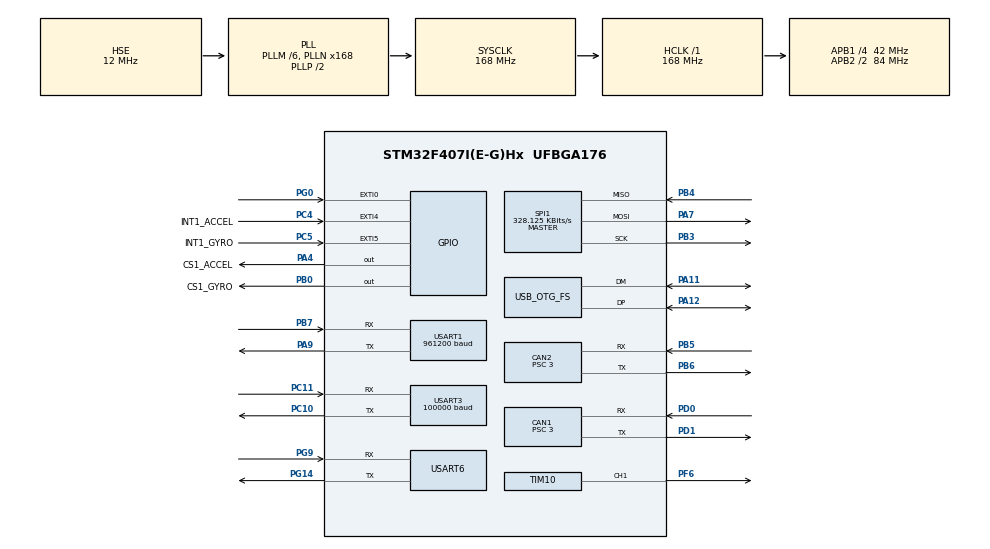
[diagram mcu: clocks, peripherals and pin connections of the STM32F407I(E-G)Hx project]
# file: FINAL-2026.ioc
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CAN1.BS1=CAN_BS1_10TQ
CAN1.BS2=CAN_BS2_3TQ
CAN1.CalculateBaudRate=1000000
CAN1.CalculateTimeBit=1000
CAN1.CalculateTimeQuantum=71.42857142857143
CAN1.Prescaler=3
CAN2.BS1=CAN_BS1_10TQ
CAN2.BS2=CAN_BS2_3TQ
CAN2.CalculateBaudRate=1000000
CAN2.CalculateTimeBit=1000
CAN2.CalculateTimeQuantum=71.42857142857143
CAN2.Prescaler=3
Dma.Request0=SPI1_RX
Dma.Request1=SPI1_TX
Dma.Request2=USART1_TX
Dma.Request3=USART3_RX
Dma.Request4=USART6_RX
Dma.Request5=USART6_TX
Dma.Request6=USART1_RX
Dma.SPI1_RX.0.Direction=DMA_PERIPH_TO_MEMORY
Dma.SPI1_RX.0.FIFOMode=DMA_FIFOMODE_DISABLE
Dma.SPI1_RX.0.Instance=DMA2_Stream2
Dma.SPI1_RX.0.MemDataAlignment=DMA_MDATAALIGN_BYTE
Dma.SPI1_RX.0.MemInc=DMA_MINC_ENABLE
Dma.SPI1_RX.0.Mode=DMA_NORMAL
Dma.SPI1_RX.0.PeriphDataAlignment=DMA_PDATAALIGN_BYTE
Dma.SPI1_RX.0.PeriphInc=DMA_PINC_DISABLE
Dma.SPI1_RX.0.Priority=DMA_PRIORITY_VERY_HIGH
Dma.SPI1_TX.1.Direction=DMA_MEMORY_TO_PERIPH
Dma.SPI1_TX.1.FIFOMode=DMA_FIFOMODE_DISABLE
Dma.SPI1_TX.1.Instance=DMA2_Stream3
Dma.SPI1_TX.1.MemDataAlignment=DMA_MDATAALIGN_BYTE
Dma.SPI1_TX.1.MemInc=DMA_MINC_ENABLE
Dma.SPI1_TX.1.Mode=DMA_NORMAL
Dma.SPI1_TX.1.PeriphDataAlignment=DMA_PDATAALIGN_BYTE
Dma.SPI1_TX.1.PeriphInc=DMA_PINC_DISABLE
Dma.SPI1_TX.1.Priority=DMA_PRIORITY_HIGH
Dma.USART1_RX.6.Direction=DMA_PERIPH_TO_MEMORY
Dma.USART1_RX.6.FIFOMode=DMA_FIFOMODE_DISABLE
Dma.USART1_RX.6.Instance=DMA2_Stream5
Dma.USART1_RX.6.MemDataAlignment=DMA_MDATAALIGN_BYTE
Dma.USART1_RX.6.MemInc=DMA_MINC_ENABLE
Dma.USART1_RX.6.Mode=DMA_CIRCULAR
Dma.USART1_RX.6.PeriphDataAlignment=DMA_PDATAALIGN_BYTE
Dma.USART1_RX.6.PeriphInc=DMA_PINC_DISABLE
Dma.USART1_RX.6.Priority=DMA_PRIORITY_HIGH
Dma.USART1_TX.2.Direction=DMA_MEMORY_TO_PERIPH
Dma.USART1_TX.2.FIFOMode=DMA_FIFOMODE_DISABLE
Dma.USART1_TX.2.Instance=DMA2_Stream7
Dma.USART1_TX.2.MemDataAlignment=DMA_MDATAALIGN_BYTE
Dma.USART1_TX.2.MemInc=DMA_MINC_ENABLE
Dma.USART1_TX.2.Mode=DMA_NORMAL
Dma.USART1_TX.2.PeriphDataAlignment=DMA_PDATAALIGN_BYTE
Dma.USART1_TX.2.PeriphInc=DMA_PINC_DISABLE
Dma.USART1_TX.2.Priority=DMA_PRIORITY_MEDIUM
Dma.USART3_RX.3.Direction=DMA_PERIPH_TO_MEMORY
Dma.USART3_RX.3.FIFOMode=DMA_FIFOMODE_DISABLE
Dma.USART3_RX.3.Instance=DMA1_Stream1
Dma.USART3_RX.3.MemDataAlignment=DMA_MDATAALIGN_BYTE
Dma.USART3_RX.3.MemInc=DMA_MINC_ENABLE
Dma.USART3_RX.3.Mode=DMA_NORMAL
Dma.USART3_RX.3.PeriphDataAlignment=DMA_PDATAALIGN_BYTE
Dma.USART3_RX.3.PeriphInc=DMA_PINC_DISABLE
Dma.USART3_RX.3.Priority=DMA_PRIORITY_LOW
Dma.USART6_RX.4.Direction=DMA_PERIPH_TO_MEMORY
Dma.USART6_RX.4.FIFOMode=DMA_FIFOMODE_DISABLE
Dma.USART6_RX.4.Instance=DMA2_Stream1
Dma.USART6_RX.4.MemDataAlignment=DMA_MDATAALIGN_BYTE
Dma.USART6_RX.4.MemInc=DMA_MINC_ENABLE
Dma.USART6_RX.4.Mode=DMA_CIRCULAR
Dma.USART6_RX.4.PeriphDataAlignment=DMA_PDATAALIGN_BYTE
Dma.USART6_RX.4.PeriphInc=DMA_PINC_DISABLE
Dma.USART6_RX.4.Priority=DMA_PRIORITY_HIGH
Dma.USART6_TX.5.Direction=DMA_MEMORY_TO_PERIPH
Dma.USART6_TX.5.FIFOMode=DMA_FIFOMODE_DISABLE
Dma.USART6_TX.5.Instance=DMA2_Stream6
Dma.USART6_TX.5.MemDataAlignment=DMA_MDATAALIGN_BYTE
Dma.USART6_TX.5.MemInc=DMA_MINC_ENABLE
Dma.USART6_TX.5.Mode=DMA_NORMAL
Dma.USART6_TX.5.PeriphDataAlignment=DMA_PDATAALIGN_BYTE
Dma.USART6_TX.5.PeriphInc=DMA_PINC_DISABLE
Dma.USART6_TX.5.Priority=DMA_PRIORITY_MEDIUM
FREERTOS.INCLUDE_eTaskGetState=1
FREERTOS.INCLUDE_pcTaskGetTaskName=1
FREERTOS.INCLUDE_uxTaskGetStackHighWaterMark=1
FREERTOS.INCLUDE_vTaskCleanUpResources=1
FREERTOS.INCLUDE_vTaskDelayUntil=1
FREERTOS.INCLUDE_xEventGroupSetBitFromISR=1
FREERTOS.INCLUDE_xQueueGetMutexHolder=1
FREERTOS.INCLUDE_xSemaphoreGetMutexHolder=1
FREERTOS.INCLUDE_xTaskAbortDelay=1
FREERTOS.INCLUDE_xTaskGetCurrentTaskHandle=1
FREERTOS.INCLUDE_xTaskGetHandle=1
FREERTOS.INCLUDE_xTimerPendFunctionCall=1
FREERTOS.Tasks01=ins_task,2,512,INS_TASK,As weak,NULL,Dynamic,NULL,NULL;chassis_task,1,512,CHASSIS_TASK,As weak,NULL,Dynamic,NULL,NULL;gimbal_task,2,512,GIMBAL_TASK,As weak,NULL,Dynamic,NULL,NULL;shooter_task,1,512,SHOOTER_TASK,As weak,NULL,Dynamic,NULL,NULL;usbreceive_task,2,256,USBRECEIVE_TASK,As weak,NULL,Dynamic,NULL,NULL;referee_task,0,256,REFEREE_TASK,As weak,NULL,Dynamic,NULL,NULL;calibrate_task,-1,128,CALIBRATE_TASK,As weak,NULL,Dynamic,NULL,NULL;control_task,2,512,CONTROL_TASK,As weak,NULL,Dynamic,NULL,NULL
FREERTOS.configENABLE_FPU=1
FREERTOS.configTOTAL_HEAP_SIZE=24576
FREERTOS.configUSE_TIMERS=1
Mcu.Family=STM32F4
Mcu.Name=STM32F407I(E-G)Hx
Mcu.Package=UFBGA176
NVIC.CAN1_RX0_IRQn=true\:5\:0\:false\:false\:true\:true\:true\:true\:true
NVIC.CAN2_RX0_IRQn=true\:5\:0\:false\:false\:true\:true\:true\:true\:true
NVIC.DMA1_Stream1_IRQn=true\:5\:0\:false\:false\:true\:true\:false\:true\:true
NVIC.DMA2_Stream1_IRQn=true\:5\:0\:false\:false\:true\:true\:false\:true\:true
NVIC.DMA2_Stream2_IRQn=true\:5\:0\:false\:false\:true\:true\:false\:true\:true
NVIC.DMA2_Stream3_IRQn=true\:5\:0\:false\:false\:true\:true\:false\:true\:true
NVIC.DMA2_Stream5_IRQn=true\:5\:0\:false\:false\:true\:true\:false\:true\:true
NVIC.DMA2_Stream6_IRQn=true\:5\:0\:false\:false\:true\:true\:false\:true\:true
NVIC.DMA2_Stream7_IRQn=true\:5\:0\:false\:false\:true\:true\:false\:true\:true
NVIC.EXTI0_IRQn=true\:5\:0\:false\:false\:true\:true\:true\:true\:true
NVIC.EXTI4_IRQn=true\:5\:0\:false\:false\:true\:false\:true\:true\:true
NVIC.EXTI9_5_IRQn=true\:5\:0\:false\:false\:true\:false\:true\:true\:true
NVIC.OTG_FS_IRQn=true\:5\:0\:false\:false\:true\:true\:true\:true\:true
NVIC.PriorityGroup=NVIC_PRIORITYGROUP_4
NVIC.USART1_IRQn=true\:5\:0\:false\:false\:true\:true\:false\:true\:true
NVIC.USART3_IRQn=true\:5\:0\:false\:false\:true\:true\:true\:true\:true
NVIC.USART6_IRQn=true\:5\:0\:false\:false\:true\:true\:false\:true\:true
PA10.Signal=USB_OTG_FS_ID
PA11.GPIO_PuPd=GPIO_PULLUP
PA11.Mode=Device_Only
PA11.Signal=USB_OTG_FS_DM
PA12.GPIO_PuPd=GPIO_PULLUP
PA12.Mode=Device_Only
PA12.Signal=USB_OTG_FS_DP
PA13.Mode=Serial_Wire
PA13.Signal=SYS_JTMS-SWDIO
PA14.Mode=Serial_Wire
PA14.Signal=SYS_JTCK-SWCLK
PA4.GPIO_Label=CS1_ACCEL
PA4.GPIO_PuPd=GPIO_PULLUP
PA4.GPIO_Speed=GPIO_SPEED_FREQ_HIGH
PA4.PinState=GPIO_PIN_SET
PA4.Signal=GPIO_Output
PA7.GPIO_PuPd=GPIO_PULLUP
PA7.Mode=Full_Duplex_Master
PA7.Signal=SPI1_MOSI
PA9.Mode=Asynchronous
PA9.Signal=USART1_TX
PB0.GPIO_Label=CS1_GYRO
PB0.GPIO_PuPd=GPIO_PULLUP
PB0.GPIO_Speed=GPIO_SPEED_FREQ_HIGH
PB0.PinState=GPIO_PIN_SET
PB0.Signal=GPIO_Output
PB3.GPIO_PuPd=GPIO_PULLUP
PB3.Mode=Full_Duplex_Master
PB3.Signal=SPI1_SCK
PB4.GPIO_PuPd=GPIO_PULLUP
PB4.Mode=Full_Duplex_Master
PB4.Signal=SPI1_MISO
PB5.Mode=CAN_Activate
PB5.Signal=CAN2_RX
PB6.Mode=CAN_Activate
PB6.Signal=CAN2_TX
PB7.Mode=Asynchronous
PB7.Signal=USART1_RX
PC10.Mode=Asynchronous
PC10.Signal=USART3_TX
PC11.Mode=Asynchronous
PC11.Signal=USART3_RX
PC4.GPIO_Label=INT1_ACCEL
PC4.GPIO_PuPd=GPIO_PULLUP
PC4.Signal=GPXTI4
PC5.GPIO_Label=INT1_GYRO
PC5.GPIO_PuPd=GPIO_PULLUP
PC5.Signal=GPXTI5
PD0.Mode=CAN_Activate
PD0.Signal=CAN1_RX
PD1.Mode=CAN_Activate
PD1.Signal=CAN1_TX
PF6.GPIO_PuPd=GPIO_PULLUP
PF6.GPIO_Speed=GPIO_SPEED_FREQ_HIGH
PF6.Signal=S_TIM10_CH1
PG0.GPIO_PuPd=GPIO_PULLUP
PG0.Signal=GPXTI0
PG14.Mode=Asynchronous
PG14.Signal=USART6_TX
PG9.Mode=Asynchronous
PG9.Signal=USART6_RX
PH0-OSC_IN.Mode=HSE-External-Oscillator
PH0-OSC_IN.Signal=RCC_OSC_IN
PH1-OSC_OUT.Mode=HSE-External-Oscillator
PH1-OSC_OUT.Signal=RCC_OSC_OUT
ProjectManager.HeapSize=0x200
ProjectManager.StackSize=0x400
ProjectManager.TargetToolchain=MDK-ARM V5.32
RCC.48MHZClocksFreq_Value=48000000
RCC.AHBFreq_Value=168000000
RCC.APB1CLKDivider=RCC_HCLK_DIV4
RCC.APB1Freq_Value=42000000
RCC.APB1TimFreq_Value=84000000
RCC.APB2CLKDivider=RCC_HCLK_DIV2
RCC.APB2Freq_Value=84000000
RCC.APB2TimFreq_Value=168000000
RCC.CortexFreq_Value=168000000
RCC.HCLKFreq_Value=168000000
RCC.HSE_VALUE=12000000
RCC.HSI_VALUE=16000000
RCC.LSE_VALUE=32768
RCC.PLLM=6
RCC.PLLN=168
RCC.PLLQ=7
RCC.SYSCLKFreq_VALUE=168000000
RCC.SYSCLKSource=RCC_SYSCLKSOURCE_PLLCLK
RCC.VCOOutputFreq_Value=336000000
SH.S_TIM10_CH1.0=TIM10_CH1,PWM Generation1 CH1
SPI1.BaudRatePrescaler=SPI_BAUDRATEPRESCALER_256
SPI1.CLKPhase=SPI_PHASE_2EDGE
SPI1.CLKPolarity=SPI_POLARITY_HIGH
SPI1.CalculateBaudRate=328.125 KBits/s
SPI1.Direction=SPI_DIRECTION_2LINES
SPI1.Mode=SPI_MODE_MASTER
SPI1.VirtualType=VM_MASTER
STMicroelectronics.X-CUBE-ALGOBUILD.1.4.0.LibraryCcDSPOoLibraryJjDSPOoLibrary=true
TIM10.Channel=TIM_CHANNEL_1
TIM10.Period=4999
USART1.BaudRate=961200
USART1.VirtualMode=VM_ASYNC
USART3.BaudRate=100000
USART3.Parity=PARITY_EVEN
USART3.StopBits=STOPBITS_2
USART3.VirtualMode=VM_ASYNC
USART3.WordLength=WORDLENGTH_9B
USART6.VirtualMode=VM_ASYNC
USB_DEVICE.CLASS_NAME_FS=CDC
USB_DEVICE.VirtualMode-CDC_FS=Cdc
USB_DEVICE.VirtualModeFS=Cdc_FS
USB_OTG_FS.VirtualMode=Device_Only
VP_CRC_VS_CRC.Mode=CRC_Activate
VP_FREERTOS_VS_CMSIS_V1.Mode=CMSIS_V1
VP_RNG_VS_RNG.Mode=RNG_Activate
VP_STMicroelectronics.X-CUBE-ALGOBUILD_VS_DSPOoLibraryJjLibrary_1.4.0_1.4.0.Mode=DSPOoLibraryJjLibrary
VP_TIM10_VS_ClockSourceINT.Mode=Enable_Timer
VP_USB_DEVICE_VS_USB_DEVICE_CDC_FS.Mode=CDC_FS
board=custom

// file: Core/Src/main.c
/* USER CODE BEGIN Header */
/**
 ******************************************************************************
 * @file           : main.c
 * @brief          : Main program body
 ******************************************************************************
 * @attention
 *
 * Copyright (c) 2026 STMicroelectronics.
 * All rights reserved.
 *
 * This software is licensed under terms that can be found in the LICENSE file
 * in the root directory of this software component.
 * If no LICENSE file comes with this software, it is provided AS-IS.
 *
 ******************************************************************************
 */
/* USER CODE END Header */
#include "main.h"
#include "cmsis_os.h"
#include "can.h"
#include "crc.h"
#include "dma.h"
#include "rng.h"
#include "spi.h"
#include "tim.h"
#include "usart.h"
#include "usb_device.h"
#include "gpio.h"

/* USER CODE BEGIN Includes */
#include "BMI088driver.h"
/* USER CODE END Includes */

void SystemClock_Config(void);
void MX_FREERTOS_Init(void);

int main(void)
{

  /* MCU Configuration--------------------------------------------------------*/

  /* Reset of all peripherals, Initializes the Flash interface and the Systick. */
  HAL_Init();

  /* Configure the system clock */
  SystemClock_Config();

  /* USER CODE BEGIN SysInit */
//  HAL_NVIC_SetPriorityGrouping(NVIC_PRIORITYGROUP_4);
	USB_GPIO_CONSTRAINT_RESTART();
  /* USER CODE END SysInit */

  /* Initialize all configured peripherals */
  MX_GPIO_Init();
  MX_DMA_Init();
  MX_CAN1_Init();
  MX_CAN2_Init();
  MX_SPI1_Init();
  MX_TIM10_Init();
  MX_USART1_UART_Init();
  MX_USART3_UART_Init();
  MX_CRC_Init();
  MX_RNG_Init();
  MX_USART6_UART_Init();
	MX_USB_DEVICE_Init();
  /* USER CODE BEGIN 2 */
  HAL_TIM_PWM_Start(&htim10, TIM_CHANNEL_1);
  can_filter_init();
  while (BMI088_init())
  {
    ;
  }
  while (1)
  {
    BMI088_read(&BMI088);

    if (BMI088.temperature < 40.0f)
    {
      IMU_Temperature_Control(BMI088.temperature);
    }
    else
    {
      TIM10->CCR1 = 0;
      break;
    }
  }

  IMU_Calibrate(0);
  hspi1.Init.BaudRatePrescaler = SPI_BAUDRATEPRESCALER_8;
  /* USER CODE END 2 */

  /* Call init function for freertos objects (in cmsis_os2.c) */
  MX_FREERTOS_Init();

  /* Start scheduler */
  osKernelStart();

  /* We should never get here as control is now taken by the scheduler */

  /* Infinite loop */
  while (1)
  {

  }
}

void SystemClock_Config(void)
{
  RCC_OscInitTypeDef RCC_OscInitStruct = {0};
  RCC_ClkInitTypeDef RCC_ClkInitStruct = {0};

  /** Configure the main internal regulator output voltage
  */
  __HAL_RCC_PWR_CLK_ENABLE();
  __HAL_PWR_VOLTAGESCALING_CONFIG(PWR_REGULATOR_VOLTAGE_SCALE1);

  /** Initializes the RCC Oscillators according to the specified parameters
  * in the RCC_OscInitTypeDef structure.
  */
  RCC_OscInitStruct.OscillatorType = RCC_OSCILLATORTYPE_HSE;
  RCC_OscInitStruct.HSEState = RCC_HSE_ON;
  RCC_OscInitStruct.PLL.PLLState = RCC_PLL_ON;
  RCC_OscInitStruct.PLL.PLLSource = RCC_PLLSOURCE_HSE;
  RCC_OscInitStruct.PLL.PLLM = 6;
  RCC_OscInitStruct.PLL.PLLN = 168;
  RCC_OscInitStruct.PLL.PLLP = RCC_PLLP_DIV2;
  RCC_OscInitStruct.PLL.PLLQ = 7;
  if (HAL_RCC_OscConfig(&RCC_OscInitStruct) != HAL_OK)
  {
    Error_Handler();
  }

  /** Initializes the CPU, AHB and APB buses clocks
  */
  RCC_ClkInitStruct.ClockType = RCC_CLOCKTYPE_HCLK|RCC_CLOCKTYPE_SYSCLK
                              |RCC_CLOCKTYPE_PCLK1|RCC_CLOCKTYPE_PCLK2;
  RCC_ClkInitStruct.SYSCLKSource = RCC_SYSCLKSOURCE_PLLCLK;
  RCC_ClkInitStruct.AHBCLKDivider = RCC_SYSCLK_DIV1;
  RCC_ClkInitStruct.APB1CLKDivider = RCC_HCLK_DIV4;
  RCC_ClkInitStruct.APB2CLKDivider = RCC_HCLK_DIV2;

  if (HAL_RCC_ClockConfig(&RCC_ClkInitStruct, FLASH_LATENCY_5) != HAL_OK)
  {
    Error_Handler();
  }
}

/* USER CODE BEGIN 4 */
void vApplicationStackOverflowHook(TaskHandle_t xTask, char *pcTaskName)
{
  /* Stack overflow detected */
  __disable_irq();
  while (1)
  {
    // You can add debug output here, e.g., print pcTaskName
  }
}
/* USER CODE END 4 */

void Error_Handler(void)
{
  __disable_irq();
  while (1)
  {
  }
}

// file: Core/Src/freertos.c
/* USER CODE BEGIN Header */
/**
  ******************************************************************************
  * File Name          : freertos.c
  * Description        : Code for freertos applications
  ******************************************************************************
  * @attention
  *
  * Copyright (c) 2026 STMicroelectronics.
  * All rights reserved.
  *
  * This software is licensed under terms that can be found in the LICENSE file
  * in the root directory of this software component.
  * If no LICENSE file comes with this software, it is provided AS-IS.
  *
  ******************************************************************************
  */
/* USER CODE END Header */

#include "FreeRTOS.h"
#include "task.h"
#include "main.h"
#include "cmsis_os.h"

/* USER CODE BEGIN Includes */
#include "ins_task.h"
#include "chassis_task.h"
#include "gimbal_task.h"
#include "shooter_task.h"
#include "control_task.h"
#include "usbreceive_task.h"
#include "referee_task.h"
#include "calibrate_task.h"
/* USER CODE END Includes */

osThreadId ins_taskHandle;
osThreadId chassis_taskHandle;
osThreadId gimbal_taskHandle;
osThreadId shooter_taskHandle;
osThreadId usbreceive_taskHandle;
osThreadId referee_taskHandle;
osThreadId calibrate_taskHandle;
osThreadId control_taskHandle;

void INS_TASK(void const * argument);
void CHASSIS_TASK(void const * argument);
void GIMBAL_TASK(void const * argument);
void SHOOTER_TASK(void const * argument);
void USBRECEIVE_TASK(void const * argument);
void REFEREE_TASK(void const * argument);
void CALIBRATE_TASK(void const * argument);
void CONTROL_TASK(void const * argument);

extern void MX_USB_DEVICE_Init(void);
void MX_FREERTOS_Init(void); /* (MISRA C 2004 rule 8.1) */

/* GetIdleTaskMemory prototype (linked to static allocation support) */
void vApplicationGetIdleTaskMemory( StaticTask_t **ppxIdleTaskTCBBuffer, StackType_t **ppxIdleTaskStackBuffer, uint32_t *pulIdleTaskStackSize );

/* GetTimerTaskMemory prototype (linked to static allocation support) */
void vApplicationGetTimerTaskMemory( StaticTask_t **ppxTimerTaskTCBBuffer, StackType_t **ppxTimerTaskStackBuffer, uint32_t *pulTimerTaskStackSize );

/* USER CODE BEGIN GET_IDLE_TASK_MEMORY */
static StaticTask_t xIdleTaskTCBBuffer;
static StackType_t xIdleStack[configMINIMAL_STACK_SIZE];

void vApplicationGetIdleTaskMemory( StaticTask_t **ppxIdleTaskTCBBuffer, StackType_t **ppxIdleTaskStackBuffer, uint32_t *pulIdleTaskStackSize )
{
  *ppxIdleTaskTCBBuffer = &xIdleTaskTCBBuffer;
  *ppxIdleTaskStackBuffer = &xIdleStack[0];
  *pulIdleTaskStackSize = configMINIMAL_STACK_SIZE;
  /* place for user code */
}
/* USER CODE END GET_IDLE_TASK_MEMORY */

/* USER CODE BEGIN GET_TIMER_TASK_MEMORY */
static StaticTask_t xTimerTaskTCBBuffer;
static StackType_t xTimerStack[configTIMER_TASK_STACK_DEPTH];

void vApplicationGetTimerTaskMemory( StaticTask_t **ppxTimerTaskTCBBuffer, StackType_t **ppxTimerTaskStackBuffer, uint32_t *pulTimerTaskStackSize )
{
  *ppxTimerTaskTCBBuffer = &xTimerTaskTCBBuffer;
  *ppxTimerTaskStackBuffer = &xTimerStack[0];
  *pulTimerTaskStackSize = configTIMER_TASK_STACK_DEPTH;
  /* place for user code */
}
/* USER CODE END GET_TIMER_TASK_MEMORY */

void MX_FREERTOS_Init(void) {

  /* Create the thread(s) */
  /* definition and creation of ins_task */
  osThreadDef(ins_task, INS_TASK, osPriorityRealtime, 0, 512);
  ins_taskHandle = osThreadCreate(osThread(ins_task), NULL);

  /* definition and creation of chassis_task */
  osThreadDef(chassis_task, CHASSIS_TASK, osPriorityHigh, 0, 512);
  chassis_taskHandle = osThreadCreate(osThread(chassis_task), NULL);

  /* definition and creation of gimbal_task */
  osThreadDef(gimbal_task, GIMBAL_TASK, osPriorityHigh, 0, 512);
  gimbal_taskHandle = osThreadCreate(osThread(gimbal_task), NULL);

  /* definition and creation of shooter_task */
  osThreadDef(shooter_task, SHOOTER_TASK, osPriorityAboveNormal, 0, 512);
  shooter_taskHandle = osThreadCreate(osThread(shooter_task), NULL);

  /* definition and creation of usbreceive_task */
  osThreadDef(usbreceive_task, USBRECEIVE_TASK, osPriorityHigh, 0, 256);
  usbreceive_taskHandle = osThreadCreate(osThread(usbreceive_task), NULL);

  /* definition and creation of referee_task */
  osThreadDef(referee_task, REFEREE_TASK, osPriorityNormal, 0, 256);
  referee_taskHandle = osThreadCreate(osThread(referee_task), NULL);

  /* definition and creation of calibrate_task */
  osThreadDef(calibrate_task, CALIBRATE_TASK, osPriorityBelowNormal, 0, 128);
  calibrate_taskHandle = osThreadCreate(osThread(calibrate_task), NULL);

  /* definition and creation of control_task */
  osThreadDef(control_task, CONTROL_TASK, osPriorityHigh, 0, 512);
  control_taskHandle = osThreadCreate(osThread(control_task), NULL);

}

__weak void INS_TASK(void const * argument)
{
  /* init code for USB_DEVICE */

  for(;;)
  {
    osDelay(1);
  }
}

__weak void CHASSIS_TASK(void const * argument)
{
  for(;;)
  {
    osDelay(1);
  }
}

__weak void GIMBAL_TASK(void const * argument)
{
  for(;;)
  {
    osDelay(1);
  }
}

__weak void SHOOTER_TASK(void const * argument)
{
  for(;;)
  {
    osDelay(1);
  }
}

__weak void USBRECEIVE_TASK(void const * argument)
{
  for(;;)
  {
    osDelay(1);
  }
}

__weak void REFEREE_TASK(void const * argument)
{
   for(;;)
   {
     osDelay(1);
   }
}

__weak void CALIBRATE_TASK(void const * argument)
{
  for(;;)
  {
    osDelay(1);
  }
}

__weak void CONTROL_TASK(void const * argument)
{
  for(;;)
  {
    osDelay(1);
  }
}
